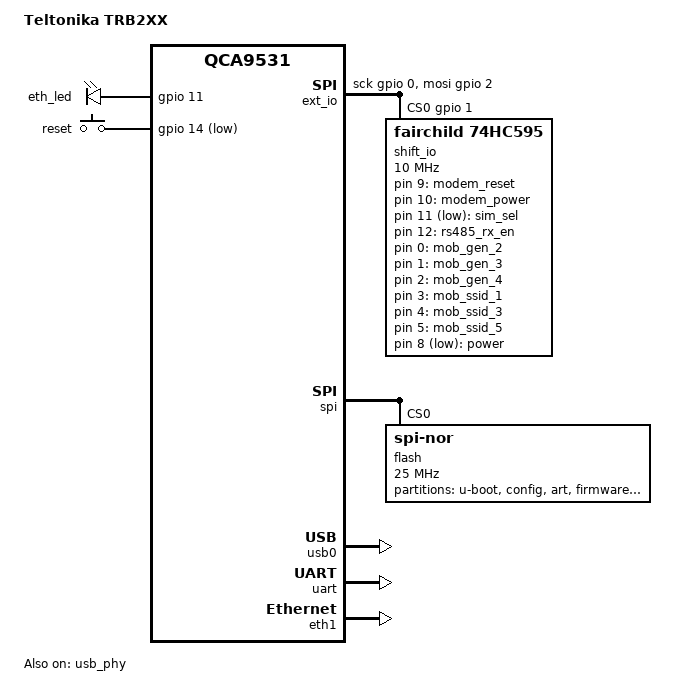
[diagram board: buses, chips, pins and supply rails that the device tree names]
// SPDX-License-Identifier: GPL-2.0-or-later OR MIT
/dts-v1/;

#include <dt-bindings/gpio/gpio.h>
#include <dt-bindings/input/input.h>
#include "qca953x.dtsi"
#include "platform_name.dtsi"

/ {
	compatible = "teltonika,trb2xx", "qca,qca9531";
	model = "Teltonika TRB2XX";

	aliases {
		serial0 = &uart;
	};

	ext_io {
		compatible = "spi-gpio";
		#address-cells = <1>;
		#size-cells = <0>;

		gpio-sck = <&gpio 0 GPIO_ACTIVE_HIGH>;  // SRCLK
		gpio-mosi = <&gpio 2 GPIO_ACTIVE_HIGH>; // SER
		cs-gpios = <&gpio 1 GPIO_ACTIVE_HIGH>;  // RCLK
		num-chipselects = <1>;

		shift_io: shift_io@0 {
			compatible = "fairchild,74hc595";
			reg = <0>;
			gpio-controller;
			#gpio-cells = <2>;
			registers-number = <2>;
			spi-max-frequency = <10000000>;
		};
	};

	gpio-export {
		compatible = "gpio-export";
		#size-cells = <0>;

		gpio_modem_reset {
			gpio-export,name = "modem_reset";
			gpio-export,output = <0>;
			gpios = <&shift_io 9 GPIO_ACTIVE_HIGH>;
		};

		gpio_modem_power {
			gpio-export,name = "modem_power";
			gpio-export,output = <0>;
			gpios = <&shift_io 10 GPIO_ACTIVE_HIGH>;
		};

		gpio_sim_select {
			gpio-export,name = "sim_sel";
			gpio-export,output = <1>;
			gpios = <&shift_io 11 GPIO_ACTIVE_LOW>;
		};

		gpio_force_rs422 {
			gpio-export,name = "rs485_rx_en";
			gpio-export,output = <0>;
			gpios = <&shift_io 12 GPIO_ACTIVE_HIGH>;
		};
	};

	leds {
		compatible = "gpio-leds";

		eth_led {
			label = "eth_led";
			gpios = <&gpio 11 GPIO_ACTIVE_HIGH>;
		};

		led_gen_2 {
			label = "mob_gen_2";
			gpios = <&shift_io 0 GPIO_ACTIVE_HIGH>;
		};

		led_gen_3 {
			label = "mob_gen_3";
			gpios = <&shift_io 1 GPIO_ACTIVE_HIGH>;
		};

		led_gen_4 {
			label = "mob_gen_4";
			gpios = <&shift_io 2 GPIO_ACTIVE_HIGH>;
		};

		led_ssid_1 {
			label = "mob_ssid_1";
			gpios = <&shift_io 3 GPIO_ACTIVE_HIGH>;
			linux,default-trigger = "timer";
		};

		led_ssid_3 {
			label = "mob_ssid_3";
			gpios = <&shift_io 4 GPIO_ACTIVE_HIGH>;
			linux,default-trigger = "timer";
		};

		led_ssid_5 {
			label = "mob_ssid_5";
			gpios = <&shift_io 5 GPIO_ACTIVE_HIGH>;
			linux,default-trigger = "timer";
		};

		led_power {
			label = "power";
			gpios = <&shift_io 8 GPIO_ACTIVE_LOW>;
			default-state = "on";
		};
	};

	keys {
		compatible = "gpio-keys";

		reset {
			label = "reset";
			linux,code = <KEY_RESTART>;
			gpios = <&gpio 14 GPIO_ACTIVE_LOW>;
		};
	};
};

&spi {
	status = "okay";
	num-cs = <1>;

	flash@0 {
		compatible = "jedec,spi-nor";
		reg = <0>;
		spi-max-frequency = <25000000>;

		partitions {
			compatible = "fixed-partitions";
			#address-cells = <1>;
			#size-cells = <1>;

			partition@0 {
				label = "u-boot";
				reg = <0x000000 0x020000>;
				read-only;
			};

			config: partition@20000 {
				label = "config";
				reg = <0x020000 0x010000>;
				read-only;
			};

			art: partition@30000 {
				label = "art";
				reg = <0x030000 0x010000>;
				read-only;
			};

			partition@40000 {
				label = "firmware";
				reg = <0x040000 0xf30000>;
				compatible = "denx,uimage";
			};

			partition@f70000 {
				label = "event-log";
				reg = <0xf70000 0x090000>;
			};
		};
	};
};

&usb0 {
	#address-cells = <1>;
	#size-cells = <0>;
	status = "okay";

	hub_port0: port@1 {
		reg = <1>;
		#trigger-source-cells = <0>;
	};
};

&usb_phy {
	status = "okay";
};

&uart {
	status = "okay";
};

&eth1 {
	status = "okay";
	mtd-mac-address = <&config 0x0>;
};
